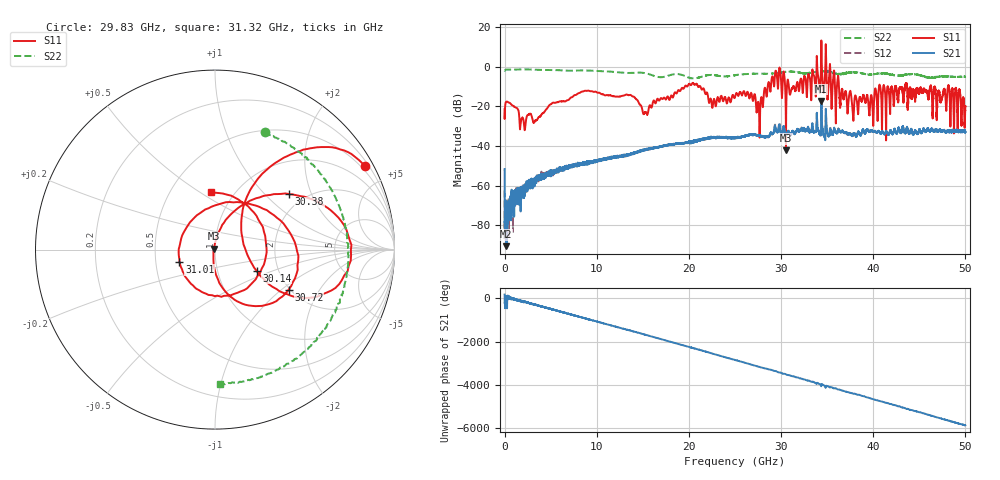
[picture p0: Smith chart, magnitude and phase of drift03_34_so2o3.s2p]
!Created with skrf (http://scikit-rf.org).
# Hz S RI R 50.0
!freq ReS11 ImS11 ReS21 ImS21 ReS12 ImS12 ReS22 ImS22
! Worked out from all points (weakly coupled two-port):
!   10001 points, 300 kHz to 50 GHz, reference 50 ohm
!   highest |S21| = -17.32 dB at 34.37 GHz (marker M1); lowest = -90.5 dB at 165.3 MHz (marker M2)
!   lowest |S11| = -42.2 dB at 30.53 GHz (marker M3), VSWR 1.02, Z = 49.4 + j0.485 ohm
!   |S11| at or under -10 dB: start of sweep to 19.55 GHz; 21.25 GHz to 28.55 GHz (7.296 GHz wide, 29.3 % of centre); 36.28 GHz to 40.62 GHz (4.339 GHz wide, 11.3 % of centre) (the widest 3 of 38)
!   |S22| runs from -5.9 to -1.3 dB; largest |S21 - S12| = 0.027
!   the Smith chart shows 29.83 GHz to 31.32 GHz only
!   S11 on the Smith chart (normalised r, x): 29.83 GHz: 0.36, +3.84; 30.14 GHz: 1.54, -0.39; 30.38 GHz: 1.67, +1.40; 30.72 GHz: 1.97, -1.12; 31.01 GHz: 0.66, -0.10; 31.32 GHz: 0.78, +0.56
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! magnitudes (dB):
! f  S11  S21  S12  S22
! 300 kHz  -21.4  -51.6  -62.3  -2.1
! 165.3 MHz  -17.7  -90.5  -71.0  -1.5
! 3.3 GHz  -27.3  -56.6  -56.8  -1.5
! 8.335 GHz  -12.6  -49.1  -49.1  -1.9
! 15.29 GHz  -22.8  -41.8  -41.8  -3.3
! 16.67 GHz  -16.5  -40.5  -40.6  -5.2
! 20.26 GHz  -9.1  -37.7  -37.4  -5.8
! 22.71 GHz  -16.4  -35.7  -35.8  -4.2
! 25 GHz  -15.3  -35.9  -35.8  -4.3
! 27.53 GHz  -17.8  -34.5  -34.6  -3.5
! 29.83 GHz  -0.4  -29.4  -28.7  -3.0
! 30.14 GHz  -11.7  -33.2  -33.6  -2.8
! 30.38 GHz  -5.8  -32.4  -32.5  -2.7
! 30.53 GHz  -42.2  -34.3  -34.1  -2.5
! 30.72 GHz  -6.6  -32.6  -32.7  -2.5
! 31.01 GHz  -13.6  -34.0  -34.3  -2.4
! 31.32 GHz  -9.9  -32.7  -32.4  -2.5
! 33.34 GHz  -7.3  -31.4  -31.3  -2.9
! 34.37 GHz  13.2  -17.3  -18.5  -2.2
! 37.85 GHz  -27.2  -33.8  -34.1  -2.8
! 41.67 GHz  -11.5  -34.4  -34.0  -3.7
! 50 GHz  -19.9  -32.9  -32.5  -5.0
